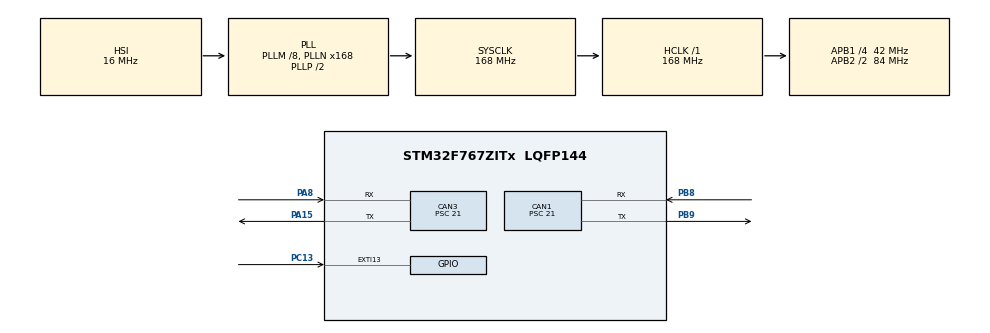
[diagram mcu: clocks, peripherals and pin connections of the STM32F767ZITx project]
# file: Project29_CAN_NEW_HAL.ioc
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CAN1.BS1=CAN_BS1_12TQ
CAN1.BS2=CAN_BS2_4TQ
CAN1.CalculateTimeQuantum=500.0
CAN1.Prescaler=21
CAN3.BS1=CAN_BS1_12TQ
CAN3.BS2=CAN_BS2_4TQ
CAN3.CalculateTimeQuantum=500.0
CAN3.Prescaler=21
Mcu.Family=STM32F7
Mcu.Name=STM32F767ZITx
Mcu.Package=LQFP144
NVIC.CAN1_RX0_IRQn=true\:0\:0\:true\:false\:true\:true\:true
NVIC.CAN3_RX0_IRQn=true\:0\:0\:false\:false\:true\:true\:true
NVIC.EXTI15_10_IRQn=true\:2\:0\:true\:false\:true\:true\:true
NVIC.PriorityGroup=NVIC_PRIORITYGROUP_4
PA15.Mode=Master
PA15.Signal=CAN3_TX
PA8.Mode=Master
PA8.Signal=CAN3_RX
PB8.Mode=Master
PB8.Signal=CAN1_RX
PB9.Mode=Master
PB9.Signal=CAN1_TX
PC13.Signal=GPXTI13
PH0/OSC_IN.Mode=HSE-External-Oscillator
PH0/OSC_IN.Signal=RCC_OSC_IN
PH1/OSC_OUT.Mode=HSE-External-Oscillator
PH1/OSC_OUT.Signal=RCC_OSC_OUT
ProjectManager.HeapSize=0x200
ProjectManager.StackSize=0x400
ProjectManager.TargetToolchain=EWARM V8
RCC.48MHZClocksFreq_Value=24000000
RCC.AHBFreq_Value=168000000
RCC.APB1CLKDivider=RCC_HCLK_DIV4
RCC.APB1Freq_Value=42000000
RCC.APB1TimFreq_Value=84000000
RCC.APB2CLKDivider=RCC_HCLK_DIV2
RCC.APB2Freq_Value=84000000
RCC.APB2TimFreq_Value=168000000
RCC.CortexFreq_Value=168000000
RCC.HCLKFreq_Value=168000000
RCC.HSE_VALUE=16000000
RCC.HSI_VALUE=16000000
RCC.LSE_VALUE=32768
RCC.PLLM=8
RCC.PLLMUL=RCC_PLL_MUL9
RCC.PLLN=168
RCC.PRESCALERUSB=RCC_USBCLKSOURCE_PLL_DIV1_5
RCC.SYSCLKFreq_VALUE=168000000
RCC.SYSCLKSource=RCC_SYSCLKSOURCE_PLLCLK
RCC.SYSCLKSourceVirtual=RCC_SYSCLKSOURCE_PLLCLK
RCC.USBFreq_Value=168000000
RCC.VCOOutputFreq_Value=336000000
board=NUCLEO-F767ZI

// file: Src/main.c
/* USER CODE BEGIN Header */
/**
  ******************************************************************************
  * @file           : main.c
  * @brief          : Main program body
  ******************************************************************************
  * @attention
  *
  * <h2><center>&copy; Copyright (c) 2021 STMicroelectronics.
  * All rights reserved.</center></h2>
  *
  * This software component is licensed by ST under BSD 3-Clause license,
  * the "License"; You may not use this file except in compliance with the
  * License. You may obtain a copy of the License at:
  *                        opensource.org/licenses/BSD-3-Clause
  *
  ******************************************************************************
  */
/* USER CODE END Header */

#include "main.h"

CAN_HandleTypeDef hcan1;
CAN_HandleTypeDef hcan3;

/* USER CODE BEGIN PV */
CAN_HandleTypeDef hcan1;
CAN_TxHeaderTypeDef pHeader;
CAN_RxHeaderTypeDef pRxHeader;
uint32_t TxMailbox;
uint8_t a[]={'S', 'a', 'l', 'u', 't', 'c', 'a', '1'};
uint8_t r[8];
CAN_FilterTypeDef  sFilterConfig;

CAN_HandleTypeDef hcan3;
CAN_TxHeaderTypeDef pHeader3;
CAN_RxHeaderTypeDef pRxHeader3;
uint32_t TxMailbox3;
uint8_t a3[8]={'S', 'a', 'l', 'u', 't', 'c', 'a', '2'};
uint8_t r3[8];
CAN_FilterTypeDef  sFilterConfig3;
/* USER CODE END PV */

void SystemClock_Config(void);
static void MX_GPIO_Init(void);
static void MX_CAN1_Init(void);
static void MX_CAN3_Init(void);

int main(void)
{

  /* MCU Configuration--------------------------------------------------------*/

  /* Reset of all peripherals, Initializes the Flash interface and the Systick. */
  HAL_Init();

  /* Configure the system clock */
  SystemClock_Config();

  /* Initialize all configured peripherals */
  MX_GPIO_Init();
  MX_CAN1_Init();
  MX_CAN3_Init();
  /* USER CODE BEGIN 2 */

pHeader.DLC = 8;
pHeader.IDE = CAN_ID_STD;
pHeader.RTR = CAN_RTR_DATA;
pHeader.StdId = 0x20;

pHeader3.DLC = 8;
pHeader3.IDE = CAN_ID_STD;
pHeader3.RTR = CAN_RTR_DATA;
pHeader3.StdId = 0x21;

sFilterConfig.FilterFIFOAssignment = CAN_FILTER_FIFO0;
sFilterConfig.FilterIdHigh = 0;
sFilterConfig.FilterIdLow = 0;
sFilterConfig.FilterMaskIdHigh = 0;
sFilterConfig.FilterIdLow = 0;
sFilterConfig.FilterScale = CAN_FILTERSCALE_32BIT;
sFilterConfig.FilterActivation = DISABLE;

HAL_CAN_ConfigFilter(&hcan1, &sFilterConfig);

sFilterConfig3.FilterFIFOAssignment = CAN_FILTER_FIFO0;
sFilterConfig3.FilterIdHigh = 0;
sFilterConfig3.FilterIdLow = 0;
sFilterConfig3.FilterMaskIdHigh = 0;
sFilterConfig3.FilterIdLow = 0;
sFilterConfig3.FilterScale = CAN_FILTERSCALE_32BIT;
sFilterConfig3.FilterActivation = DISABLE;

HAL_CAN_ConfigFilter(&hcan3, &sFilterConfig3);

HAL_CAN_Start(&hcan1);
HAL_CAN_Start(&hcan3);
HAL_CAN_ActivateNotification(&hcan1, CAN_IT_RX_FIFO0_MSG_PENDING);
HAL_CAN_ActivateNotification(&hcan3, CAN_IT_RX_FIFO0_MSG_PENDING);
  /* USER CODE END 2 */

  /* Infinite loop */
  /* USER CODE BEGIN WHILE */
  while (1)
  {
   // HAL_CAN_AddTxMessage(&hcan1, &pHeader, a, &TxMailbox);
   // HAL_CAN_GetRxMessage(&hcan2, CAN_RX_FIFO0, &pRxHeader2, r2);
   // HAL_CAN_AddTxMessage(&hcan2, &pHeader2, a2, &TxMailbox2);
   // HAL_CAN_GetRxMessage(&hcan1, CAN_RX_FIFO0, &pRxHeader, r);
    /* USER CODE END WHILE */

  }
}

void SystemClock_Config(void)
{
  RCC_OscInitTypeDef RCC_OscInitStruct = {0};
  RCC_ClkInitTypeDef RCC_ClkInitStruct = {0};

  /** Configure the main internal regulator output voltage
  */
  __HAL_RCC_PWR_CLK_ENABLE();
  __HAL_PWR_VOLTAGESCALING_CONFIG(PWR_REGULATOR_VOLTAGE_SCALE2);
  /** Initializes the CPU, AHB and APB busses clocks
  */
  RCC_OscInitStruct.OscillatorType = RCC_OSCILLATORTYPE_HSI;
  RCC_OscInitStruct.HSIState = RCC_HSI_ON;
  RCC_OscInitStruct.HSICalibrationValue = RCC_HSICALIBRATION_DEFAULT;
  RCC_OscInitStruct.PLL.PLLState = RCC_PLL_ON;
  RCC_OscInitStruct.PLL.PLLSource = RCC_PLLSOURCE_HSI;
  RCC_OscInitStruct.PLL.PLLM = 8;
  RCC_OscInitStruct.PLL.PLLN = 168;
  RCC_OscInitStruct.PLL.PLLP = RCC_PLLP_DIV2;
  RCC_OscInitStruct.PLL.PLLQ = 2;
  if (HAL_RCC_OscConfig(&RCC_OscInitStruct) != HAL_OK)
  {
    Error_Handler();
  }
  /** Initializes the CPU, AHB and APB busses clocks
  */
  RCC_ClkInitStruct.ClockType = RCC_CLOCKTYPE_HCLK|RCC_CLOCKTYPE_SYSCLK
                              |RCC_CLOCKTYPE_PCLK1|RCC_CLOCKTYPE_PCLK2;
  RCC_ClkInitStruct.SYSCLKSource = RCC_SYSCLKSOURCE_PLLCLK;
  RCC_ClkInitStruct.AHBCLKDivider = RCC_SYSCLK_DIV1;
  RCC_ClkInitStruct.APB1CLKDivider = RCC_HCLK_DIV4;
  RCC_ClkInitStruct.APB2CLKDivider = RCC_HCLK_DIV2;

  if (HAL_RCC_ClockConfig(&RCC_ClkInitStruct, FLASH_LATENCY_5) != HAL_OK)
  {
    Error_Handler();
  }
}

static void MX_CAN1_Init(void)
{

  hcan1.Instance = CAN1;
  hcan1.Init.Prescaler = 21;
  hcan1.Init.Mode = CAN_MODE_NORMAL;
  hcan1.Init.SyncJumpWidth = CAN_SJW_1TQ;
  hcan1.Init.TimeSeg1 = CAN_BS1_12TQ;
  hcan1.Init.TimeSeg2 = CAN_BS2_4TQ;
  hcan1.Init.TimeTriggeredMode = DISABLE;
  hcan1.Init.AutoBusOff = DISABLE;
  hcan1.Init.AutoWakeUp = DISABLE;
  hcan1.Init.AutoRetransmission = DISABLE;
  hcan1.Init.ReceiveFifoLocked = DISABLE;
  hcan1.Init.TransmitFifoPriority = DISABLE;
  if (HAL_CAN_Init(&hcan1) != HAL_OK)
  {
    Error_Handler();
  }

}

static void MX_CAN3_Init(void)
{

  hcan3.Instance = CAN3;
  hcan3.Init.Prescaler = 21;
  hcan3.Init.Mode = CAN_MODE_NORMAL;
  hcan3.Init.SyncJumpWidth = CAN_SJW_1TQ;
  hcan3.Init.TimeSeg1 = CAN_BS1_12TQ;
  hcan3.Init.TimeSeg2 = CAN_BS2_4TQ;
  hcan3.Init.TimeTriggeredMode = DISABLE;
  hcan3.Init.AutoBusOff = DISABLE;
  hcan3.Init.AutoWakeUp = DISABLE;
  hcan3.Init.AutoRetransmission = DISABLE;
  hcan3.Init.ReceiveFifoLocked = DISABLE;
  hcan3.Init.TransmitFifoPriority = DISABLE;
  if (HAL_CAN_Init(&hcan3) != HAL_OK)
  {
    Error_Handler();
  }

}

static void MX_GPIO_Init(void)
{
  GPIO_InitTypeDef GPIO_InitStruct = {0};

  /* GPIO Ports Clock Enable */
  __HAL_RCC_GPIOC_CLK_ENABLE();
  __HAL_RCC_GPIOH_CLK_ENABLE();
  __HAL_RCC_GPIOA_CLK_ENABLE();
  __HAL_RCC_GPIOB_CLK_ENABLE();

  /*Configure GPIO pin : PC13 */
  GPIO_InitStruct.Pin = GPIO_PIN_13;
  GPIO_InitStruct.Mode = GPIO_MODE_IT_RISING;
  GPIO_InitStruct.Pull = GPIO_NOPULL;
  HAL_GPIO_Init(GPIOC, &GPIO_InitStruct);

  /* EXTI interrupt init*/
  HAL_NVIC_SetPriority(EXTI15_10_IRQn, 2, 0);
  HAL_NVIC_EnableIRQ(EXTI15_10_IRQn);

}

void Error_Handler(void)
{
}

/************************ (C) COPYRIGHT STMicroelectronics *****END OF FILE****/
